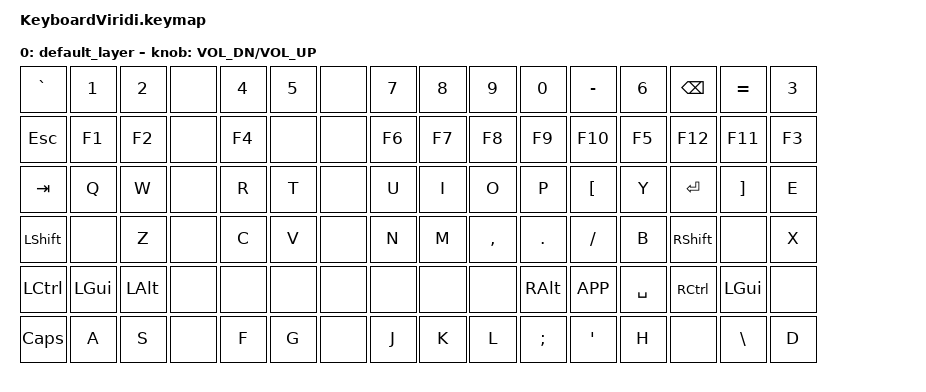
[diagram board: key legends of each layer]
#include <behaviors.dtsi>
#include <dt-bindings/zmk/bt.h>
#include <dt-bindings/zmk/outputs.h>
#include <dt-bindings/zmk/keys.h>

#define DEFAULT 0
#define COMMON 1
#define FIXRALT 2

/ {
    keymap {
        compatible = "zmk,keymap";

        default_layer {
            bindings = <
//                            Col0                  Col1          Col2          Col3          Col4          Col5          Col6          Col7          Col8          Col9          Col10         Col11         Col12         Col13        Col14         cOL15
//                            Pin13                 Pin5          Pin6          Pin9          Pin1          Pin12         Pin14         Pin8          Pin3          Pin2          Pin11         Pin7          Pin4          Pin10         
// Row 1      P0.24           
                              &kp GRAVE             &kp N1        &kp N2        &none         &kp N4        &kp N5        &none         &kp N7        &kp N8        &kp N9        &kp N0        &kp MINUS     &kp N6        &kp BSPC     &kp EQUAL     &kp N3            
// Row 2      P1.00
                              &kp ESC               &kp F1        &kp F2        &none         &kp F4        &none         &none         &kp F6        &kp F7        &kp F8        &kp F9        &kp F10       &kp F5        &kp F12      &kp F11       &kp F3
// Row 3      P1.06
                              &kp TAB               &kp Q         &kp W         &none         &kp R         &kp T         &none         &kp U         &kp I         &kp O         &kp P         &kp LBKT      &kp Y         &kp ENTER    &kp RBKT      &kp E
// Row 4      P0.11
                              &kp LSHFT             &none         &kp Z         &none         &kp С         &kp V         &none         &kp N         &kp M         &kp COMMA     &kp DOT       &kp FSLH      &kp B         &kp RSHFT    &none         &kp X  
// Row 5      P1.04
                              &kp LCTRL             &kp LGUI      &kp LALT      &none         &none         &none         &none         &none         &none         &none         &kp RALT      &kp K_APP     &kp SPACE     &kp RCTRL    &kp LGUI      &none
// Row 6      P0.09
                              &kp CAPS              &kp A         &kp S         &none         &kp F         &kp G         &none         &kp J         &kp K         &kp L         &kp SEMI      &kp SQT       &kp H        &none         &kp BSLH      &kp D
            >; 
            sensor-bindings = <&inc_dec_kp C_VOL_DN C_VOL_UP>;
        };
    }; 
};
